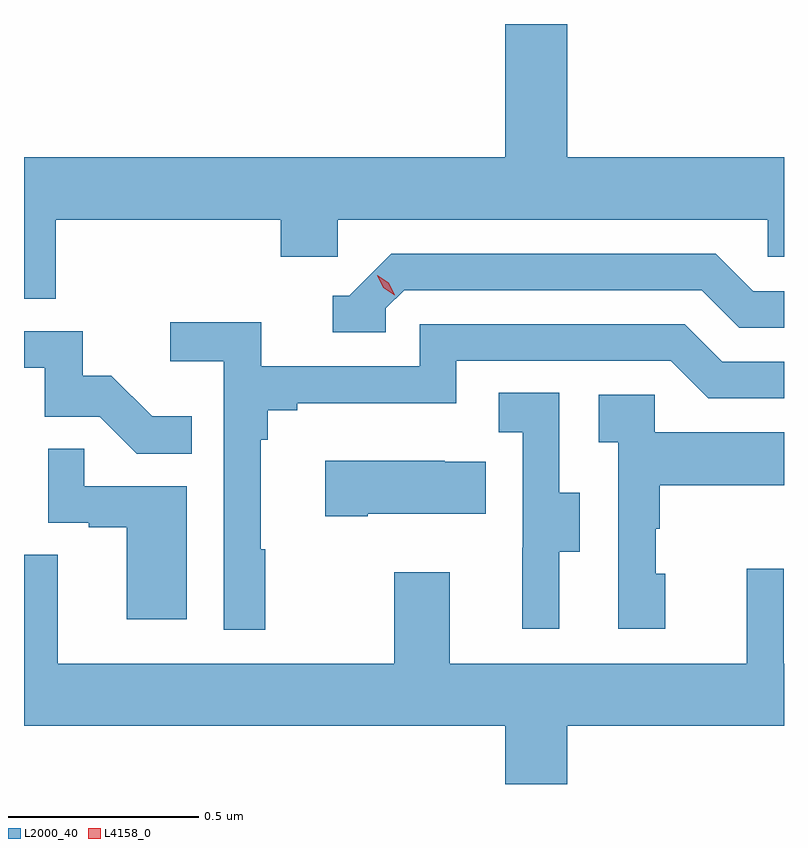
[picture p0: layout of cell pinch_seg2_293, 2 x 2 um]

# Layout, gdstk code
import gdstk
lib = gdstk.Library(unit=1e-6, precision=1e-09)
def P(c, l, *ps):  # polygons
    for p in ps: c.add(gdstk.Polygon(p, *l))
L2000_40 = (2000, 40)
L4158_0 = (4158, 0)

pinch_seg2_293 = lib.new_cell('pinch_seg2_293')
P(pinch_seg2_293, L2000_40, [(907.082,642.308),(907.673,642.308),(907.673,642.21),(907.824,642.21),(907.824,642.308),(908.955,642.308),(908.955,642.21),(908.998,642.21),(908.998,642.472),(908.428,642.472),(908.428,642.823),(908.264,642.823),(908.264,642.472),(906.998,642.472),(906.998,642.1),(907.082,642.1)],
  [(907.95,642.075),(907.998,642.123),(908.781,642.123),(908.88,642.024),(908.998,642.024),(908.998,642.12),(908.917,642.12),(908.818,642.219),(907.965,642.219),(907.854,642.108),(907.811,642.108),(907.811,642.012),(907.95,642.012)],
  [(907.633,641.441),(907.621,641.441),(907.621,641.729),(907.64,641.729),(907.64,641.806),(907.717,641.806),(907.717,641.825),(908.136,641.825),(908.136,641.937),(908.7,641.937),(908.799,641.838),(908.998,641.838),(908.998,641.934),(908.836,641.934),(908.737,642.033),(908.04,642.033),(908.04,641.922),(907.622,641.922),(907.622,642.038),(907.383,642.038),(907.383,641.936),(907.524,641.936),(907.524,641.229),(907.633,641.229)],
  [(907.439,641.791),(907.335,641.791),(907.228,641.898),(907.152,641.898),(907.152,642.015),(906.998,642.015),(906.998,641.919),(907.053,641.919),(907.053,641.79),(907.197,641.79),(907.295,641.692),(907.439,641.692)],
  [(908.407,641.434),(908.461,641.434),(908.461,641.589),(908.406,641.589),(908.406,641.852),(908.247,641.852),(908.247,641.749),(908.31,641.749),(908.31,641.445),(908.309,641.445),(908.309,641.232),(908.407,641.232)],
  [(908.686,641.376),(908.661,641.376),(908.661,641.495),(908.671,641.495),(908.671,641.609),(908.998,641.609),(908.998,641.749),(908.658,641.749),(908.658,641.847),(908.511,641.847),(908.511,641.723),(908.562,641.723),(908.562,641.232),(908.686,641.232)],
  [(907.426,641.607),(907.157,641.607),(907.157,641.705),(907.062,641.705),(907.062,641.511),(907.169,641.511),(907.169,641.499),(907.268,641.499),(907.268,641.256),(907.426,641.256)],
  [(907.903,641.534),(908.213,641.534),(908.213,641.671),(908.105,641.671),(908.105,641.674),(907.791,641.674),(907.791,641.527),(907.903,641.527)],
  [(908.428,640.976),(908.998,640.976),(908.998,641.14),(908.997,641.14),(908.997,641.389),(908.9,641.389),(908.9,641.14),(908.119,641.14),(908.119,641.38),(907.972,641.38),(907.972,641.14),(907.087,641.14),(907.087,641.426),(906.998,641.426),(906.998,640.976),(908.264,640.976),(908.264,640.823),(908.428,640.823)])
P(pinch_seg2_293, L4158_0, [(907.974,642.109),(907.943,642.129),(907.928,642.162),(907.928,642.162),(907.928,642.162),(907.958,642.142),(907.974,642.109),(907.974,642.109)])

lib.write_gds('pinch_seg2_293.gds')
